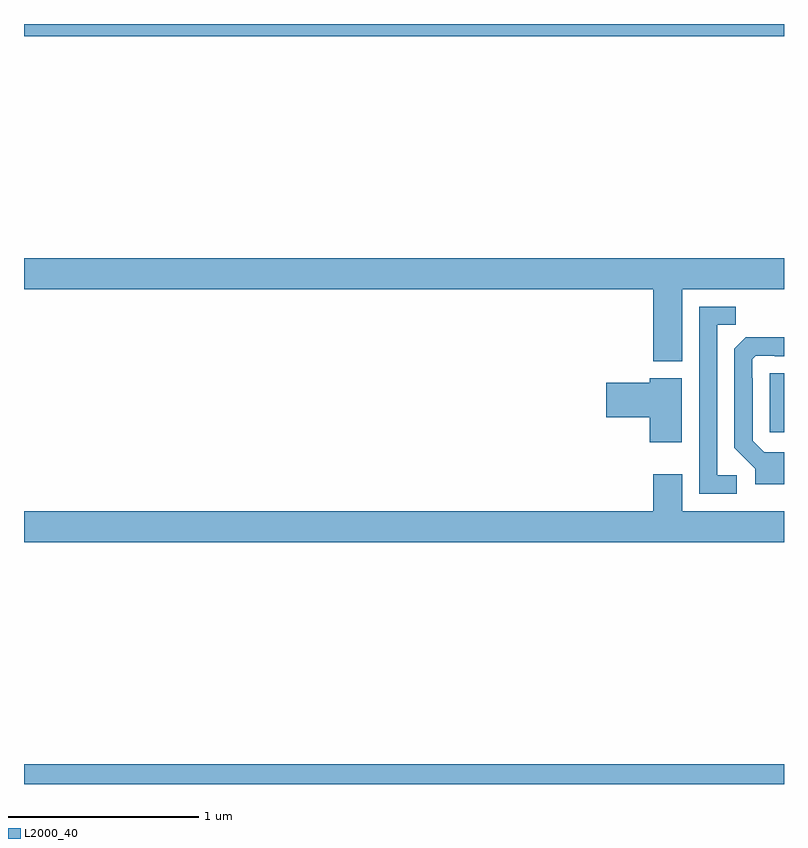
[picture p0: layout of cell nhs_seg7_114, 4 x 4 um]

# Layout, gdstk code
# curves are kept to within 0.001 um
import gdstk
lib = gdstk.Library(unit=1e-6, precision=1e-09)
def R(c, l, rs):  # rectangles x0, y0, x1, y1
    for r in rs: c.add(gdstk.rectangle(r[:2], r[2:], *l))
def P(c, l, *ps):  # polygons
    for p in ps: c.add(gdstk.Polygon(p, *l))
L2000_40 = (2000, 40)

nhs_seg7_114 = lib.new_cell('nhs_seg7_114')
R(nhs_seg7_114, L2000_40, [(119,1010,123,1010.104), (122.925,1011.852,123,1012.161), (119,1013.936,123,1014)])
P(nhs_seg7_114, L2000_40, [(122.464,1012.604),(123,1012.604),(123,1012.768),(119,1012.768),(119,1012.604),(122.312,1012.604),(122.312,1012.224),(122.464,1012.224)],
  [(122.752,1011.624),(122.649,1011.624),(122.649,1012.417),(122.745,1012.417),(122.745,1012.512),(122.553,1012.512),(122.553,1011.528),(122.752,1011.528)],
  [(123,1011.747),(122.895,1011.747),(122.835,1011.807),(122.835,1012.136),(122.832,1012.136),(122.832,1012.236),(122.85,1012.254),(122.95,1012.254),(122.95,1012.251),(123,1012.251),(123,1012.352),(122.798,1012.351),(122.739,1012.292),(122.739,1011.77),(122.849,1011.66),(122.849,1011.578),(123,1011.578)],
  [(122.461,1012.135),(122.294,1012.135),(122.294,1012.112),(122.064,1012.112),(122.064,1011.929),(122.294,1011.929),(122.294,1011.798),(122.461,1011.798)],
  [(123,1011.436),(122.464,1011.436),(122.464,1011.631),(122.312,1011.631),(122.312,1011.436),(119,1011.436),(119,1011.272),(123,1011.272)])

lib.write_gds('nhs_seg7_114.gds')
